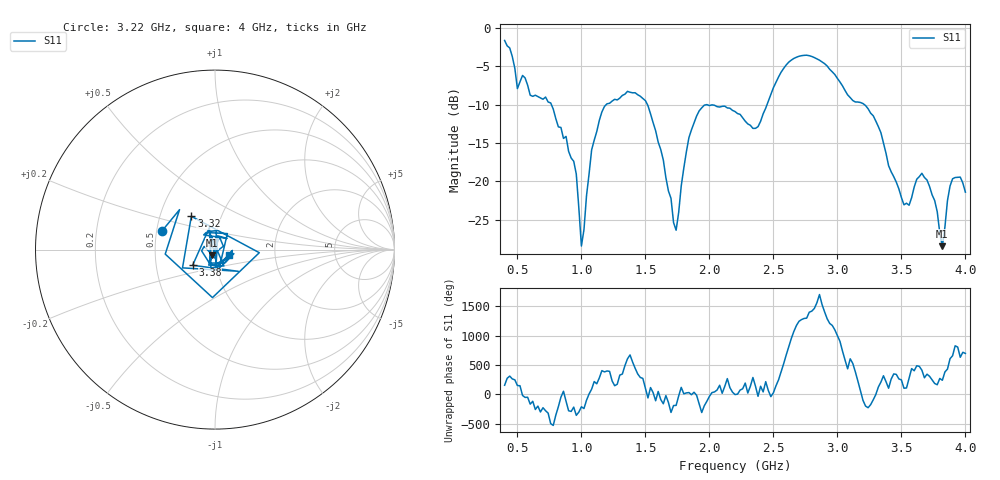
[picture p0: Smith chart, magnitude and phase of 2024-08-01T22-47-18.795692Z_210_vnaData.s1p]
!Created with skrf (http://scikit-rf.org).
# Hz S RI R 50.0
!freq ReS11 ImS11
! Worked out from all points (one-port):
!   181 points, 400 MHz to 4 GHz, reference 50 ohm
!   lowest |S11| = -28.5 dB at 3.82 GHz (marker M1), VSWR 1.08, Z = 48.1 - j3.15 ohm
!   |S11| at or under -10 dB: 1.516 GHz to 1.976 GHz (459.2 MHz wide, 26.3 % of centre); 1.983 GHz to 2.45 GHz (467.5 MHz wide, 21.1 % of centre); 3.212 GHz to end of sweep (the widest 3 of 4)
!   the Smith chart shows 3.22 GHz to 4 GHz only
!   S11 on the Smith chart (normalised r, x): 3.22 GHz: 0.54, +0.13; 3.32 GHz: 0.72, +0.28; 3.38 GHz: 0.77, -0.14; 4 GHz: 1.17, -0.07
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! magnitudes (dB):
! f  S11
! 400 MHz  -1.6
! 500 MHz  -7.9
! 720 MHz  -9.0
! 860 MHz  -14.4
! 960 MHz  -19.1
! 1 GHz  -28.5
! 1.08 GHz  -15.9
! 1.18 GHz  -10.2
! 1.3 GHz  -9.1
! 1.5 GHz  -9.5
! 1.64 GHz  -17.2
! 1.72 GHz  -25.4
! 1.76 GHz  -24.1
! 1.84 GHz  -14.3
! 1.92 GHz  -10.8
! 2.2 GHz  -10.9
! 2.38 GHz  -12.9
! 2.66 GHz  -4.0
! 3.1 GHz  -9.1
! 3.22 GHz  -10.1
! 3.32 GHz  -12.9
! 3.38 GHz  -16.4
! 3.56 GHz  -23.1
! 3.66 GHz  -19.0
! 3.76 GHz  -22.5
! 3.82 GHz  -28.5
! 3.9 GHz  -19.7
! 4 GHz  -21.4
